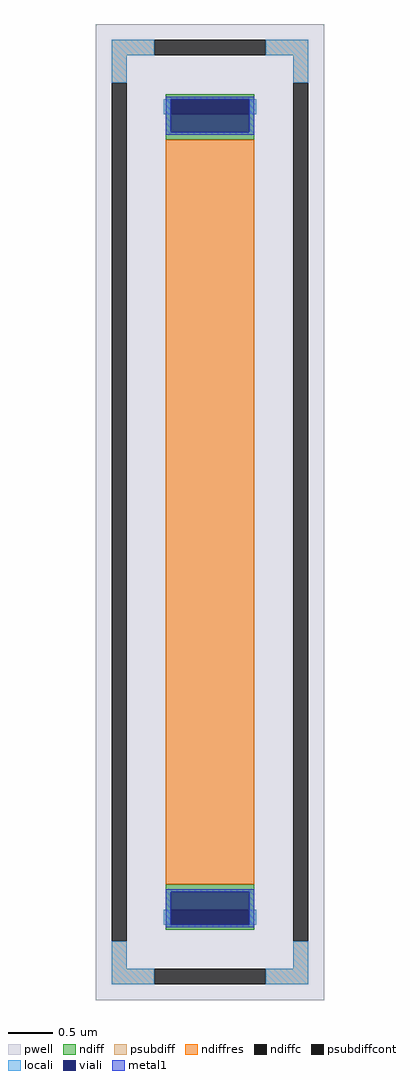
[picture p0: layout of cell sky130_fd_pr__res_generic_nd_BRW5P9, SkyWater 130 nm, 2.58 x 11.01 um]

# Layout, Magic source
magic
tech sky130A
magscale 1 2
<< pwell >>
rect -258 -1101 258 1101
<< ndiff >>
rect -100 931 100 943
rect -100 897 -88 931
rect 88 897 100 931
rect -100 840 100 897
rect -100 -897 100 -840
rect -100 -931 -88 -897
rect 88 -931 100 -897
rect -100 -943 100 -931
<< ndiffc >>
rect -88 897 88 931
rect -88 -931 88 -897
<< psubdiff >>
rect -222 1031 -126 1065
rect 126 1031 222 1065
rect -222 969 -188 1031
rect 188 969 222 1031
rect -222 -1031 -188 -969
rect 188 -1031 222 -969
rect -222 -1065 -126 -1031
rect 126 -1065 222 -1031
<< psubdiffcont >>
rect -126 1031 126 1065
rect -222 -969 -188 969
rect 188 -969 222 969
rect -126 -1065 126 -1031
<< ndiffres >>
rect -100 -840 100 840
<< locali >>
rect -222 1031 -126 1065
rect 126 1031 222 1065
rect -222 969 -188 1031
rect 188 969 222 1031
rect -104 897 -88 931
rect 88 897 104 931
rect -104 -931 -88 -897
rect 88 -931 104 -897
rect -222 -1031 -188 -969
rect 188 -1031 222 -969
rect -222 -1065 -126 -1031
rect 126 -1065 222 -1031
<< viali >>
rect -88 897 88 931
rect -88 857 88 897
rect -88 -897 88 -857
rect -88 -931 88 -897
<< metal1 >>
rect -100 931 100 937
rect -100 857 -88 931
rect 88 857 100 931
rect -100 851 100 857
rect -100 -857 100 -851
rect -100 -931 -88 -857
rect 88 -931 100 -857
rect -100 -937 100 -931
<< properties >>
string FIXED_BBOX -205 -1048 205 1048
string gencell sky130_fd_pr__res_generic_nd
string library sky130
string parameters w 1.0 l 8.4 m 1 nx 1 wmin 0.42 lmin 2.10 rho 120 val 1.061k dummy 0 dw 0.05 term 0.0 sterm 0.0 caplen 0.4 snake 0 guard 1 glc 1 grc 1 gtc 1 gbc 1 roverlap 0 endcov 100 full_metal 1 vias 1 viagb 0 viagt 0 viagl 0 viagr 0
<< end >>
